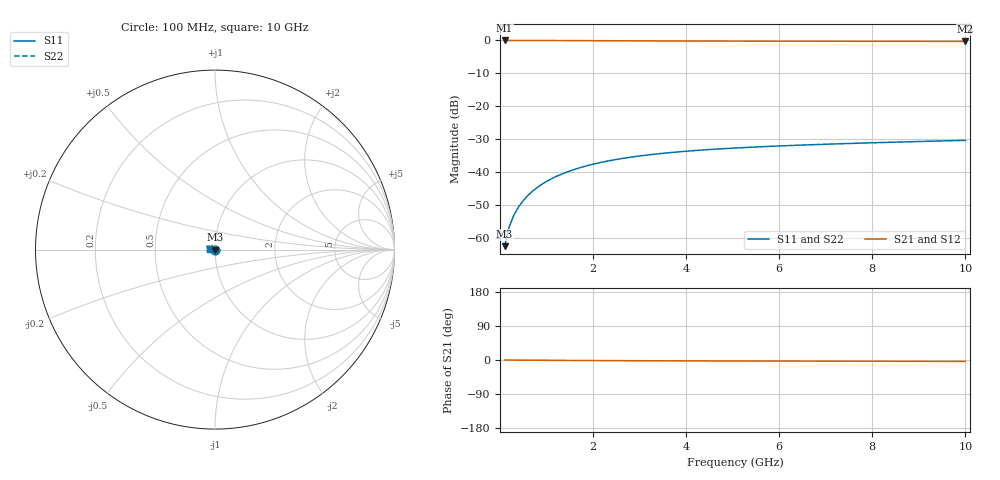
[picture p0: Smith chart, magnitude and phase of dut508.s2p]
! Touchstone file exported from HFSS 2024.1.0
!  File:  C:/UserFiles/LocalFiles/RDL_TSV_Batchsim/temp_TSV1_508_1779702382.aedt
!  Generated:  05:51:46 PM May 25, 2026
!  Design:  TSV1
!  Project:  temp_TSV1_508_1779702382
!  Setup:  Setup1
!  Solution:  Sweep
! Variables:
!  dtsv = 8.57um
!  hbump = 3um
!  htsv = 55.67um
!  lrdl = 252.1521522um
!  p = 40
!  p1 = 47.9um
!  t = 500um
!  trdl = 3um
!  wrdl = 24.89489489um
# GHz S MA R 50.000000
! Terminal data exported
! Port[1] = TSV22_T1
! Port[2] = TSV22_T2
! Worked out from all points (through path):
!   100 points, 100 MHz to 10 GHz, reference 50 ohm
!   highest |S21| = 0.00 dB at 100 MHz (marker M1); lowest = -0.3 dB at 10 GHz (marker M2)
!   lowest |S11| = -62.4 dB at 100 MHz (marker M3), VSWR 1.00, Z = 50 - j0.0746 ohm
!   |S11| at or under -10 dB: start of sweep to end of sweep
!   |S22| runs from -62.4 to -30.3 dB; largest |S21 - S12| = 3.1e-15
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0.1  0.0007582 -79.6  0.9998 -0.1  0.9998 -0.1  0.0007582 -79.6
! Gamma 0 0 0 0
! Port Impedance 50 0 50 0
0.2  0.001503 -87.5  0.9997 -0.2  0.9997 -0.2  0.001503 -87.5
0.3  0.002249 -91.4  0.9996 -0.3  0.9996 -0.3  0.002249 -91.4
0.4  0.002991 -94.4  0.9994 -0.3  0.9994 -0.3  0.002991 -94.4
0.5  0.003726 -96.9  0.9992 -0.4  0.9992 -0.4  0.003726 -96.9
0.6  0.004454 -99.2  0.9989 -0.5  0.9989 -0.5  0.004454 -99.2
0.7  0.005172 -101.4  0.9986 -0.6  0.9986 -0.6  0.005172 -101.4
0.8  0.00588 -103.5  0.9982 -0.7  0.9982 -0.7  0.00588 -103.5
0.9  0.006577 -105.5  0.9978 -0.7  0.9978 -0.7  0.006577 -105.5
1.1  0.007931 -109.3  0.997 -0.9  0.997 -0.9  0.007931 -109.3
1.4  0.009854 -114.8  0.9954 -1.1  0.9954 -1.1  0.009854 -114.8
1.6  0.01106 -118.2  0.9943 -1.2  0.9943 -1.2  0.01106 -118.2
1.8  0.01219 -121.5  0.9931 -1.3  0.9931 -1.3  0.01219 -121.5
2.1  0.01378 -126.3  0.9913 -1.5  0.9913 -1.5  0.01378 -126.3
2.5  0.01566 -132.2  0.9889 -1.7  0.9889 -1.7  0.01566 -132.2
2.9  0.01731 -137.6  0.9866 -1.9  0.9866 -1.9  0.01731 -137.6
3.4  0.01909 -143.7  0.984 -2.1  0.984 -2.1  0.01909 -143.7
4.2  0.0214 -152.3  0.9803 -2.3  0.9803 -2.3  0.0214 -152.3
5.1  0.02344 -160.6  0.977 -2.6  0.977 -2.6  0.02344 -160.6
6.7  0.02621 -172.7  0.9728 -3.0  0.9728 -3.0  0.02621 -172.7
8.4  0.02856 177.1  0.9699 -3.4  0.9699 -3.4  0.02856 177.1
10  0.03055 169.0  0.968 -3.8  0.968 -3.8  0.03055 169.0
